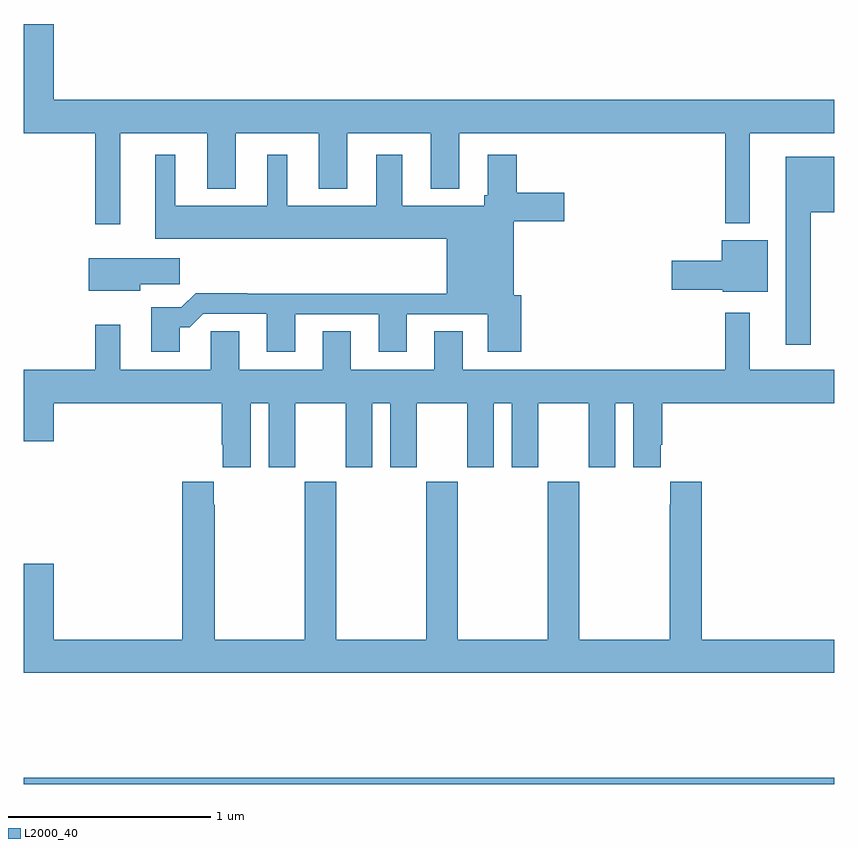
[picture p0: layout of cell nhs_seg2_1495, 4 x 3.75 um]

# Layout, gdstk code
import gdstk
lib = gdstk.Library(unit=1e-6, precision=1e-09)
def R(c, l, rs):  # rectangles x0, y0, x1, y1
    for r in rs: c.add(gdstk.rectangle(r[:2], r[2:], *l))
def P(c, l, *ps):  # polygons
    for p in ps: c.add(gdstk.Polygon(p, *l))
L2000_40 = (2000, 40)

nhs_seg2_1495 = lib.new_cell('nhs_seg2_1495')
R(nhs_seg2_1495, L2000_40, [(189,601.8,193,601.832)])
P(nhs_seg2_1495, L2000_40, [(189.475,605.012),(189.905,605.012),(189.905,604.739),(190.045,604.739),(190.045,605.012),(190.457,605.012),(190.457,604.739),(190.597,604.739),(190.597,605.012),(191.009,605.012),(191.009,604.739),(191.149,604.739),(191.149,605.012),(192.462,605.012),(192.462,604.568),(192.583,604.568),(192.583,605.012),(193,605.012),(193,605.176),(189.148,605.176),(189.148,605.551),(189,605.551),(189,605.012),(189.354,605.012),(189.354,604.563),(189.475,604.563)],
  [(189.769,604.055),(189.818,604.055),(189.885,604.122),(190.199,604.122),(190.199,603.933),(190.339,603.933),(190.339,604.119),(190.751,604.119),(190.751,603.933),(190.891,603.933),(190.891,604.119),(191.291,604.119),(191.291,603.933),(191.456,603.933),(191.456,604.212),(191.419,604.212),(191.419,604.577),(191.668,604.577),(191.668,604.719),(191.432,604.719),(191.432,604.906),(191.291,604.906),(191.291,604.707),(191.272,604.707),(191.272,604.654),(190.867,604.654),(190.867,604.906),(190.739,604.906),(190.739,604.654),(190.3,604.654),(190.3,604.906),(190.202,604.906),(190.202,604.654),(189.748,604.654),(189.748,604.906),(189.65,604.906),(189.65,604.49),(191.087,604.49),(191.087,604.22),(190.103,604.22),(190.103,604.223),(189.848,604.223),(189.778,604.153),(189.629,604.153),(189.629,603.933),(189.769,603.933)],
  [(192.883,604.622),(193,604.622),(193,604.897),(192.761,604.897),(192.761,603.969),(192.883,603.969)],
  [(192.673,604.483),(192.446,604.483),(192.446,604.382),(192.198,604.382),(192.198,604.24),(192.45,604.24),(192.45,604.229),(192.673,604.229)],
  [(189.574,604.267),(189.769,604.267),(189.769,604.396),(189.32,604.396),(189.32,604.235),(189.574,604.235)],
  [(190.12,603.68),(190.208,603.68),(190.208,603.363),(190.339,603.363),(190.339,603.68),(190.589,603.68),(190.589,603.363),(190.72,603.363),(190.72,603.68),(190.808,603.68),(190.808,603.363),(190.939,603.363),(190.939,603.68),(191.189,603.68),(191.189,603.363),(191.32,603.363),(191.32,603.68),(191.408,603.68),(191.408,603.363),(191.539,603.363),(191.539,603.68),(191.789,603.68),(191.789,603.363),(191.92,603.363),(191.92,603.68),(192.008,603.68),(192.008,603.363),(192.145,603.363),(192.145,603.475),(192.152,603.475),(192.152,603.68),(193,603.68),(193,603.844),(192.583,603.844),(192.583,604.126),(192.462,604.126),(192.462,603.844),(191.167,603.844),(191.167,604.034),(191.027,604.034),(191.027,603.844),(190.615,603.844),(190.615,604.034),(190.475,604.034),(190.475,603.844),(190.063,603.844),(190.063,604.034),(189.924,604.034),(189.924,603.844),(189.475,603.844),(189.475,604.066),(189.354,604.066),(189.354,603.844),(189,603.844),(189,603.492),(189.148,603.492),(189.148,603.68),(189.977,603.68),(189.977,603.475),(189.983,603.475),(189.983,603.363),(190.12,603.363)],
  [(193,602.512),(192.347,602.512),(192.347,603.292),(192.191,603.292),(192.191,603.179),(192.187,603.179),(192.187,602.512),(191.742,602.512),(191.742,603.292),(191.587,603.292),(191.587,602.512),(191.142,602.512),(191.142,603.292),(190.987,603.292),(190.987,602.512),(190.542,602.512),(190.542,603.292),(190.387,603.292),(190.387,602.512),(189.942,602.512),(189.942,603.179),(189.937,603.179),(189.937,603.292),(189.782,603.292),(189.782,602.512),(189.148,602.512),(189.148,602.887),(189,602.887),(189,602.348),(193,602.348)])

lib.write_gds('nhs_seg2_1495.gds')
